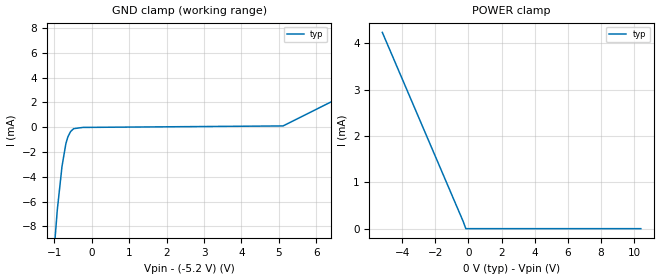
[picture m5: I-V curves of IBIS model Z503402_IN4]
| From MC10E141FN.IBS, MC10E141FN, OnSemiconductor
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| (C) COPYRIGHT 1993-2000
| MENTOR GRAPHICS CORPORATION
| ICX STANDARD LIBRARY, ICX PROJECT MODELING,
| ICX CUSTOM MODELING, ICX VENDOR MODEL
| ALL RIGHTS RESERVED.
| THE FOLLOWING ARE TRADEMARKS OR SERVICE MARKS OF
| MENTOR GRAPHICS CORPORATION:ICX (R), ICX STANDARD
| LIBRARY(R), ICX PROJECT MODELING(R), ICX CUSTOM
| MODELING(R), qualityIBIS(TM), MODELVIEWER(TM),
| AND MODELEDITOR(TM)
| ALL COPIES OF SOFTWARE, INCLUDING BUT NOT LIMITED TO
| ANY MODIFICATIONS, ENHANCEMENTS OR DERIVATIVE WORKS,
| MUST CONTAIN ALL MENTOR GRAPHICS CORPORATION'S
| NOTICES AND LEGENDS, INCLUDING THOSE EMBEDDED IN
| SOFTWARE AND THOSE AFFIXED TO SOFTWARE MEDIUM
| AND CONTAINER, AS RECEIVED FROM MENTOR GRAPHICS
| CORPORATION.
| Model Application Version 1.89 2/18/99.
[Model] Z503402_IN4
Model_type Input_ECL
Vinl = -1.480V
Vinh = -1.130V
C_comp 4.000pF NA NA
| variable typ   min   max
[Voltage Range] -5.200V NA NA
[GND Clamp Reference] -5.200V NA NA
[POWER Clamp Reference] 0.000V NA NA
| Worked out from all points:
|   GND clamp passes 1 mA (typ) near -0.66 V on its own axis
[GND Clamp]
-5.2V     -302.5mA   NA         NA
-1.205V   -19.97mA   NA         NA
-1.005V   -9.845mA   NA         NA
-921mV    -6.637mA   NA         NA
-796mV    -3.153mA   NA         NA
-693mV    -1.325mA   NA         NA
-640mV    -782.5uA   NA         NA
-566mV    -346.2uA   NA         NA
-484mV    -118.6uA   NA         NA
-242mV    -18.77uA   NA         NA
5.112V    100.7uA    NA         NA
10.4V     8.09mA     NA         NA
[POWER Clamp]
-5.2V     4.237mA    NA         NA
-322.3mV  157.1uA    NA         NA
-161.1mV  0A         NA         NA
10.4V     0A         NA         NA
